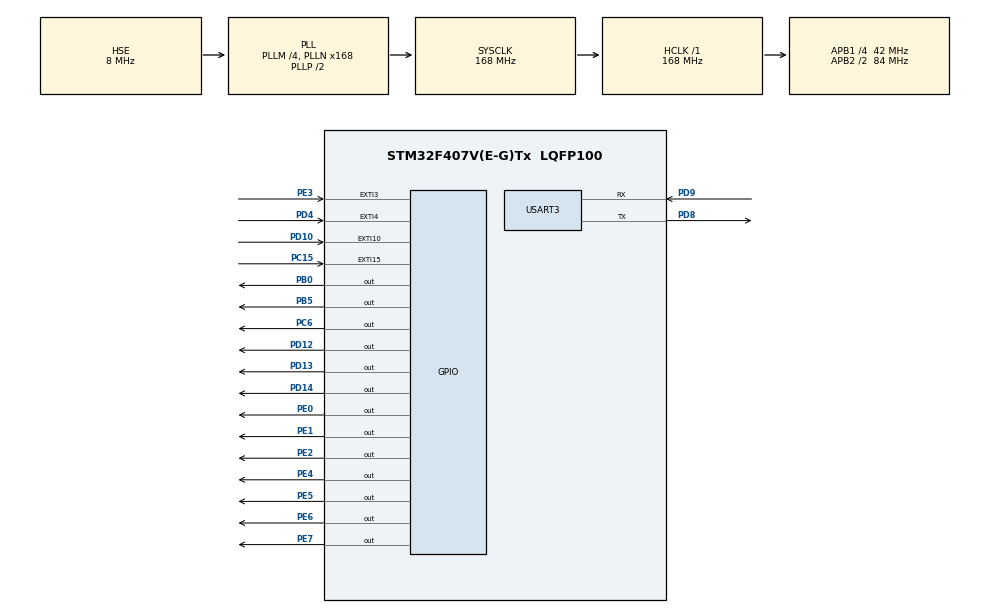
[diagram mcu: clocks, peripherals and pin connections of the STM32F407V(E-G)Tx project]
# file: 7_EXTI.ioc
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Mcu.Family=STM32F4
Mcu.Name=STM32F407V(E-G)Tx
Mcu.Package=LQFP100
NVIC.EXTI15_10_IRQn=true\:0\:0\:false\:true\:true\:5\:true\:true\:true
NVIC.EXTI3_IRQn=true\:0\:0\:false\:true\:true\:3\:true\:true\:true
NVIC.EXTI4_IRQn=true\:0\:0\:false\:true\:true\:4\:true\:true\:true
NVIC.PriorityGroup=NVIC_PRIORITYGROUP_4
NVIC.TIM7_IRQn=true\:0\:0\:false\:true\:true\:2\:true\:true\:true
NVIC.USART3_IRQn=true\:0\:0\:false\:true\:true\:1\:true\:true\:true
PB0.Signal=GPIO_Output
PB5.Signal=GPIO_Output
PC15-OSC32_OUT.Signal=GPXTI15
PC6.Signal=GPIO_Output
PD10.Signal=GPXTI10
PD12.Signal=GPIO_Output
PD13.Signal=GPIO_Output
PD14.Signal=GPIO_Output
PD4.Signal=GPXTI4
PD8.Mode=Asynchronous
PD8.Signal=USART3_TX
PD9.Mode=Asynchronous
PD9.Signal=USART3_RX
PE0.Signal=GPIO_Output
PE1.Signal=GPIO_Output
PE2.Signal=GPIO_Output
PE3.Signal=GPXTI3
PE4.Signal=GPIO_Output
PE5.Signal=GPIO_Output
PE6.Signal=GPIO_Output
PE7.Signal=GPIO_Output
PH0-OSC_IN.Mode=HSE-External-Oscillator
PH0-OSC_IN.Signal=RCC_OSC_IN
PH1-OSC_OUT.Mode=HSE-External-Oscillator
PH1-OSC_OUT.Signal=RCC_OSC_OUT
ProjectManager.HeapSize=0x200
ProjectManager.StackSize=0x400
ProjectManager.TargetToolchain=STM32CubeIDE
RCC.48MHZClocksFreq_Value=84000000
RCC.AHBFreq_Value=168000000
RCC.APB1CLKDivider=RCC_HCLK_DIV4
RCC.APB1Freq_Value=42000000
RCC.APB1TimFreq_Value=84000000
RCC.APB2CLKDivider=RCC_HCLK_DIV2
RCC.APB2Freq_Value=84000000
RCC.APB2TimFreq_Value=168000000
RCC.CortexFreq_Value=168000000
RCC.HCLKFreq_Value=168000000
RCC.HSE_VALUE=8000000
RCC.HSI_VALUE=16000000
RCC.LSE_VALUE=32768
RCC.PLLM=4
RCC.PLLN=168
RCC.PLLSourceVirtual=RCC_PLLSOURCE_HSE
RCC.SYSCLKFreq_VALUE=168000000
RCC.SYSCLKSource=RCC_SYSCLKSOURCE_PLLCLK
RCC.VCOOutputFreq_Value=336000000
TIM7.Period=8400-1
TIM7.Prescaler=10000-1
USART3.VirtualMode=VM_ASYNC
VP_TIM7_VS_ClockSourceINT.Mode=Enable_Timer
board=custom

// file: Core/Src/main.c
/* USER CODE BEGIN Header */
/**
 ******************************************************************************
 * @file           : main.c
 * @brief          : Main program body
 ******************************************************************************
 * @attention
 *
 * Copyright (c) 2024 STMicroelectronics.
 * All rights reserved.
 *
 * This software is licensed under terms that can be found in the LICENSE file
 * in the root directory of this software component.
 * If no LICENSE file comes with this software, it is provided AS-IS.
 *
 ******************************************************************************
 */
/* USER CODE END Header */
#include "main.h"

/* USER CODE BEGIN Includes */
#include <stdio.h>
#include <string.h>
#include "CLCD.h"
#include "7SEG.h"
/* USER CODE END Includes */

TIM_HandleTypeDef htim7;

UART_HandleTypeDef huart3;

/* USER CODE BEGIN PV */
uint8_t rx3_data;
uint8_t buf = 0;
uint8_t rx3_buf[100] = "uart test";
/* USER CODE END PV */

void SystemClock_Config(void);
static void MX_GPIO_Init(void);
static void MX_USART3_UART_Init(void);
static void MX_TIM7_Init(void);
static void MX_NVIC_Init(void);
/* USER CODE BEGIN PFP */
int _write(int file, char *p, int len) {
	HAL_UART_Transmit(&huart3, p, len, 10);
	return len;
}

void HAL_UART_RxCpltCallback(UART_HandleTypeDef *huart) {
	if (huart->Instance == USART3) {
		if (buf < 100 - 1) {
			buf++;
		} else {
			buf = 0;
		}

		if (rx3_buf[buf - 1] == '\n') {
			rx3_buf[buf - 1] = '\0';
			buf = 0;
		}

		HAL_UART_Receive_IT(&huart3, &rx3_buf[buf], 1);
	}
}

void HAL_TIM_PeriodElapsedCallback(TIM_HandleTypeDef *htim) {
	static unsigned char cnt = 0;

	if (htim->Instance == TIM7) {
//		HAL_GPIO_TogglePin(GPIOD, GPIO_PIN_12);
//		_7SEG_SetNumber(DGT1, cnt/10, OFF);
//		_7SEG_SetNumber(DGT2, cnt%10, ON);
//		cnt++;
	}
}

void HAL_GPIO_EXTI_Callback(uint16_t GPIO_Pin) {
	if (GPIO_Pin == GPIO_PIN_3) {
		HAL_GPIO_TogglePin(GPIOD, GPIO_PIN_12);
	}
	if (GPIO_Pin == GPIO_PIN_15) {
		HAL_GPIO_TogglePin(GPIOD, GPIO_PIN_13);
	}
	if (GPIO_Pin == GPIO_PIN_4) {
		HAL_GPIO_TogglePin(GPIOD, GPIO_PIN_14);
	}
	if (GPIO_Pin == GPIO_PIN_10) {
		HAL_GPIO_TogglePin(GPIOB, GPIO_PIN_0);
	}
}
/* USER CODE END PFP */

int main(void) {

	/* MCU Configuration--------------------------------------------------------*/

	/* Reset of all peripherals, Initializes the Flash interface and the Systick. */
	HAL_Init();

	/* Configure the system clock */
	SystemClock_Config();

	/* Initialize all configured peripherals */
	MX_GPIO_Init();
	MX_USART3_UART_Init();
	MX_TIM7_Init();

	/* Initialize interrupts */
	MX_NVIC_Init();
	/* USER CODE BEGIN 2 */
	HAL_GPIO_WritePin(GPIOD, GPIO_PIN_12, GPIO_PIN_SET);
	HAL_GPIO_WritePin(GPIOD, GPIO_PIN_13, GPIO_PIN_SET);
	HAL_GPIO_WritePin(GPIOD, GPIO_PIN_14, GPIO_PIN_SET);
	HAL_GPIO_WritePin(GPIOC, GPIO_PIN_6, GPIO_PIN_SET);
	HAL_GPIO_WritePin(GPIOB, GPIO_PIN_0, GPIO_PIN_SET);
	HAL_GPIO_WritePin(GPIOB, GPIO_PIN_5, GPIO_PIN_SET);

//	HAL_UART_Receive_IT(&huart3, &rx3_buf[buf], 1);

	HAL_TIM_Base_Start_IT(&htim7);

	CLCD_GPIO_Init();
	CLCD_Init();

	CLCD_Puts(0, 0, "Welcome to");
	CLCD_Puts(0, 1, "Kkang Home");

//	CLCD_Clear();

//	_7SEG_GPIO_Init();
	/* USER CODE END 2 */

	/* Infinite loop */
	/* USER CODE BEGIN WHILE */
	uint8_t a = 0;
	uint8_t str[20];

	while (1) {
		/* USER CODE END WHILE */

	}
}

void SystemClock_Config(void) {
	RCC_OscInitTypeDef RCC_OscInitStruct = { 0 };
	RCC_ClkInitTypeDef RCC_ClkInitStruct = { 0 };

	/** Configure the main internal regulator output voltage
	 */
	__HAL_RCC_PWR_CLK_ENABLE();
	__HAL_PWR_VOLTAGESCALING_CONFIG(PWR_REGULATOR_VOLTAGE_SCALE1);

	/** Initializes the RCC Oscillators according to the specified parameters
	 * in the RCC_OscInitTypeDef structure.
	 */
	RCC_OscInitStruct.OscillatorType = RCC_OSCILLATORTYPE_HSE;
	RCC_OscInitStruct.HSEState = RCC_HSE_ON;
	RCC_OscInitStruct.PLL.PLLState = RCC_PLL_ON;
	RCC_OscInitStruct.PLL.PLLSource = RCC_PLLSOURCE_HSE;
	RCC_OscInitStruct.PLL.PLLM = 4;
	RCC_OscInitStruct.PLL.PLLN = 168;
	RCC_OscInitStruct.PLL.PLLP = RCC_PLLP_DIV2;
	RCC_OscInitStruct.PLL.PLLQ = 4;
	if (HAL_RCC_OscConfig(&RCC_OscInitStruct) != HAL_OK) {
		Error_Handler();
	}

	/** Initializes the CPU, AHB and APB buses clocks
	 */
	RCC_ClkInitStruct.ClockType = RCC_CLOCKTYPE_HCLK | RCC_CLOCKTYPE_SYSCLK
			| RCC_CLOCKTYPE_PCLK1 | RCC_CLOCKTYPE_PCLK2;
	RCC_ClkInitStruct.SYSCLKSource = RCC_SYSCLKSOURCE_PLLCLK;
	RCC_ClkInitStruct.AHBCLKDivider = RCC_SYSCLK_DIV1;
	RCC_ClkInitStruct.APB1CLKDivider = RCC_HCLK_DIV4;
	RCC_ClkInitStruct.APB2CLKDivider = RCC_HCLK_DIV2;

	if (HAL_RCC_ClockConfig(&RCC_ClkInitStruct, FLASH_LATENCY_5) != HAL_OK) {
		Error_Handler();
	}
}

/**
 * @brief NVIC Configuration.
 * @retval None
 */
static void MX_NVIC_Init(void) {
	/* USART3_IRQn interrupt configuration */
	HAL_NVIC_SetPriority(USART3_IRQn, 0, 0);
	HAL_NVIC_EnableIRQ(USART3_IRQn);
	/* TIM7_IRQn interrupt configuration */
	HAL_NVIC_SetPriority(TIM7_IRQn, 0, 0);
	HAL_NVIC_EnableIRQ(TIM7_IRQn);
	/* EXTI3_IRQn interrupt configuration */
	HAL_NVIC_SetPriority(EXTI3_IRQn, 0, 0);
	HAL_NVIC_EnableIRQ(EXTI3_IRQn);
	/* EXTI4_IRQn interrupt configuration */
	HAL_NVIC_SetPriority(EXTI4_IRQn, 0, 0);
	HAL_NVIC_EnableIRQ(EXTI4_IRQn);
	/* EXTI15_10_IRQn interrupt configuration */
	HAL_NVIC_SetPriority(EXTI15_10_IRQn, 0, 0);
	HAL_NVIC_EnableIRQ(EXTI15_10_IRQn);
}

static void MX_TIM7_Init(void) {

	TIM_MasterConfigTypeDef sMasterConfig = { 0 };

	htim7.Instance = TIM7;
	htim7.Init.Prescaler = 10000 - 1;
	htim7.Init.CounterMode = TIM_COUNTERMODE_UP;
	htim7.Init.Period = 8400 - 1;
	htim7.Init.AutoReloadPreload = TIM_AUTORELOAD_PRELOAD_DISABLE;
	if (HAL_TIM_Base_Init(&htim7) != HAL_OK) {
		Error_Handler();
	}
	sMasterConfig.MasterOutputTrigger = TIM_TRGO_RESET;
	sMasterConfig.MasterSlaveMode = TIM_MASTERSLAVEMODE_DISABLE;
	if (HAL_TIMEx_MasterConfigSynchronization(&htim7, &sMasterConfig)
			!= HAL_OK) {
		Error_Handler();
	}

}

static void MX_USART3_UART_Init(void) {

	huart3.Instance = USART3;
	huart3.Init.BaudRate = 115200;
	huart3.Init.WordLength = UART_WORDLENGTH_8B;
	huart3.Init.StopBits = UART_STOPBITS_1;
	huart3.Init.Parity = UART_PARITY_NONE;
	huart3.Init.Mode = UART_MODE_TX_RX;
	huart3.Init.HwFlowCtl = UART_HWCONTROL_NONE;
	huart3.Init.OverSampling = UART_OVERSAMPLING_16;
	if (HAL_UART_Init(&huart3) != HAL_OK) {
		Error_Handler();
	}

}

static void MX_GPIO_Init(void) {
	GPIO_InitTypeDef GPIO_InitStruct = { 0 };

	/* GPIO Ports Clock Enable */
	__HAL_RCC_GPIOE_CLK_ENABLE();
	__HAL_RCC_GPIOC_CLK_ENABLE();
	__HAL_RCC_GPIOH_CLK_ENABLE();
	__HAL_RCC_GPIOB_CLK_ENABLE();
	__HAL_RCC_GPIOD_CLK_ENABLE();

	/*Configure GPIO pin Output Level */
	HAL_GPIO_WritePin(GPIOE,
			GPIO_PIN_2 | GPIO_PIN_4 | GPIO_PIN_5 | GPIO_PIN_6 | GPIO_PIN_7
					| GPIO_PIN_0 | GPIO_PIN_1, GPIO_PIN_RESET);

	/*Configure GPIO pin Output Level */
	HAL_GPIO_WritePin(GPIOB, GPIO_PIN_0 | GPIO_PIN_5, GPIO_PIN_RESET);

	/*Configure GPIO pin Output Level */
	HAL_GPIO_WritePin(GPIOD, GPIO_PIN_12 | GPIO_PIN_13 | GPIO_PIN_14,
			GPIO_PIN_RESET);

	/*Configure GPIO pin Output Level */
	HAL_GPIO_WritePin(GPIOC, GPIO_PIN_6, GPIO_PIN_RESET);

	/*Configure GPIO pins : PE2 PE4 PE5 PE6
	 PE7 PE0 PE1 */
	GPIO_InitStruct.Pin = GPIO_PIN_2 | GPIO_PIN_4 | GPIO_PIN_5 | GPIO_PIN_6
			| GPIO_PIN_7 | GPIO_PIN_0 | GPIO_PIN_1;
	GPIO_InitStruct.Mode = GPIO_MODE_OUTPUT_PP;
	GPIO_InitStruct.Pull = GPIO_NOPULL;
	GPIO_InitStruct.Speed = GPIO_SPEED_FREQ_LOW;
	HAL_GPIO_Init(GPIOE, &GPIO_InitStruct);

	/*Configure GPIO pin : PE3 */
	GPIO_InitStruct.Pin = GPIO_PIN_3;
	GPIO_InitStruct.Mode = GPIO_MODE_IT_RISING;
	GPIO_InitStruct.Pull = GPIO_NOPULL;
	HAL_GPIO_Init(GPIOE, &GPIO_InitStruct);

	/*Configure GPIO pin : PC15 */
	GPIO_InitStruct.Pin = GPIO_PIN_15;
	GPIO_InitStruct.Mode = GPIO_MODE_IT_RISING;
	GPIO_InitStruct.Pull = GPIO_NOPULL;
	HAL_GPIO_Init(GPIOC, &GPIO_InitStruct);

	/*Configure GPIO pins : PB0 PB5 */
	GPIO_InitStruct.Pin = GPIO_PIN_0 | GPIO_PIN_5;
	GPIO_InitStruct.Mode = GPIO_MODE_OUTPUT_PP;
	GPIO_InitStruct.Pull = GPIO_NOPULL;
	GPIO_InitStruct.Speed = GPIO_SPEED_FREQ_LOW;
	HAL_GPIO_Init(GPIOB, &GPIO_InitStruct);

	/*Configure GPIO pins : PD10 PD4 */
	GPIO_InitStruct.Pin = GPIO_PIN_10 | GPIO_PIN_4;
	GPIO_InitStruct.Mode = GPIO_MODE_IT_RISING;
	GPIO_InitStruct.Pull = GPIO_NOPULL;
	HAL_GPIO_Init(GPIOD, &GPIO_InitStruct);

	/*Configure GPIO pins : PD12 PD13 PD14 */
	GPIO_InitStruct.Pin = GPIO_PIN_12 | GPIO_PIN_13 | GPIO_PIN_14;
	GPIO_InitStruct.Mode = GPIO_MODE_OUTPUT_PP;
	GPIO_InitStruct.Pull = GPIO_NOPULL;
	GPIO_InitStruct.Speed = GPIO_SPEED_FREQ_LOW;
	HAL_GPIO_Init(GPIOD, &GPIO_InitStruct);

	/*Configure GPIO pin : PC6 */
	GPIO_InitStruct.Pin = GPIO_PIN_6;
	GPIO_InitStruct.Mode = GPIO_MODE_OUTPUT_PP;
	GPIO_InitStruct.Pull = GPIO_NOPULL;
	GPIO_InitStruct.Speed = GPIO_SPEED_FREQ_LOW;
	HAL_GPIO_Init(GPIOC, &GPIO_InitStruct);

}

void Error_Handler(void) {
	__disable_irq();
	while (1) {
	}
}
